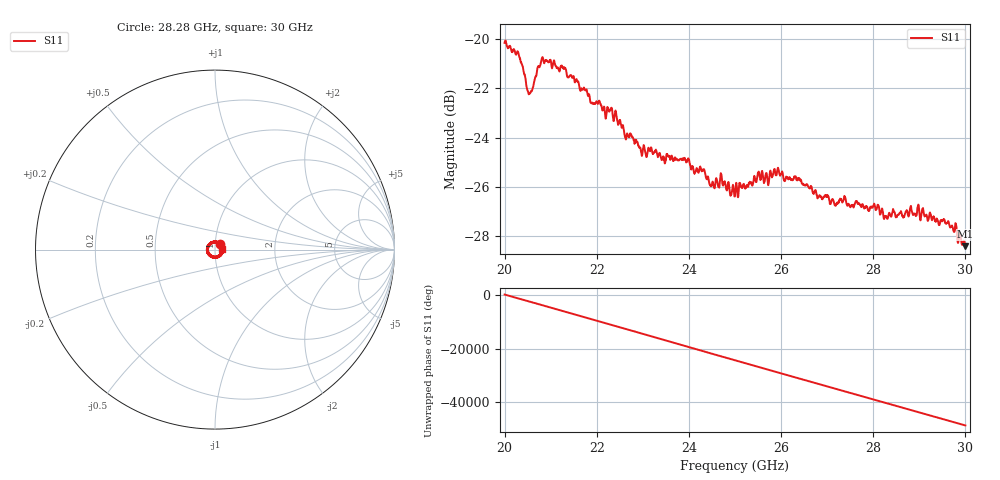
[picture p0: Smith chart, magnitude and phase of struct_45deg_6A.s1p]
#  HZ  S  RI  R  50.00
! Rohde & Schwarz ZVA40 4Ports - Version 3.90 - 1145.1110k42 SN: 100403
! Date: 2023-09-30 08:42:26
! Measurement: S12
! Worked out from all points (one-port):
!   5001 points, 20 GHz to 30 GHz, reference 50 ohm
!   lowest |S11| = -28.4 dB at 30 GHz (marker M1), VSWR 1.08, Z = 53.8 - j1.11 ohm
!   |S11| at or under -10 dB: start of sweep to end of sweep
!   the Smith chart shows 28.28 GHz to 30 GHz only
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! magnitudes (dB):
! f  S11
! 20 GHz  -20.2
! 20.31 GHz  -20.7
! 20.54 GHz  -22.2
! 20.83 GHz  -20.8
! 21.25 GHz  -21.1
! 21.75 GHz  -22.1
! 21.9 GHz  -22.6
! 22.04 GHz  -22.5
! 22.17 GHz  -22.8
! 22.28 GHz  -22.9
! 22.5 GHz  -23.3
! 22.96 GHz  -24.5
! 23.75 GHz  -24.9
! 24.29 GHz  -25.4
! 24.51 GHz  -25.8
! 24.73 GHz  -25.9
! 24.94 GHz  -26.1
! 25 GHz  -26.3
! 25.9 GHz  -25.5
! 26.25 GHz  -25.7
! 26.83 GHz  -26.3
! 27.35 GHz  -26.6
! 27.5 GHz  -26.8
! 28.07 GHz  -26.9
! 28.27 GHz  -27.2
! 28.75 GHz  -27.1
! 29.58 GHz  -27.5
! 30 GHz  -28.4
